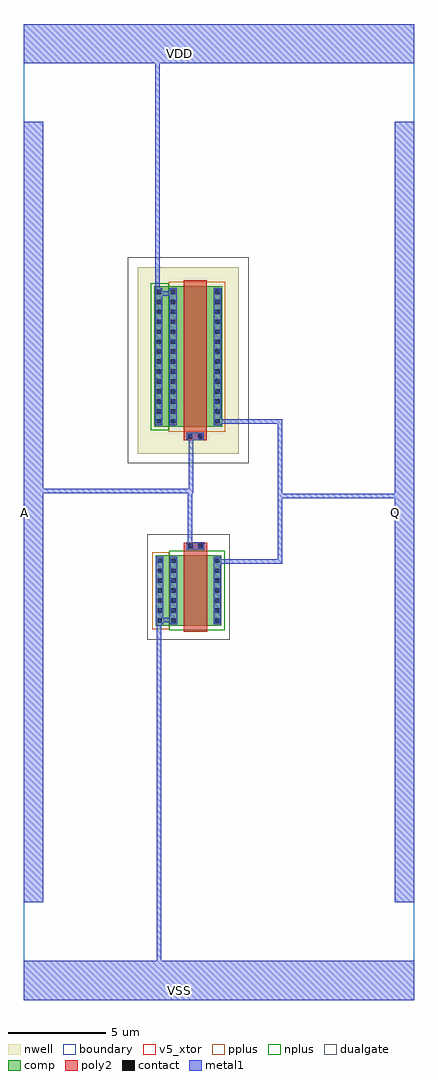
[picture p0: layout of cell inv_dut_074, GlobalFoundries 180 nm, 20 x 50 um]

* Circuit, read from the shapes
.subckt inv_dut_074 A Q VDD VSS
XM1 Q A VSS VSS nfet_05v0 w=3.6u l=1.2u
XM2 Q A VDD VDD pfet_05v0 w=7.2u l=1.2u
.ends

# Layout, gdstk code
from math import pi, radians
import gdstk
lib = gdstk.Library(unit=1e-6, precision=1e-09)
def R(c, l, rs):  # rectangles x0, y0, x1, y1
    for r in rs: c.add(gdstk.rectangle(r[:2], r[2:], *l))
def A(c, l, x, y, w, h, nx, ny, dx, dy):  # array of equal rectangles
    R(c, l, [(x+i*dx, y+j*dy, x+i*dx+w, y+j*dy+h) for i in range(nx) for j in range(ny)])
boundary = (0, 0)
nwell = (21, 0)
comp = (22, 0)
poly2 = (30, 0)
pplus = (31, 0)
nplus = (32, 0)
contact = (33, 0)
metal1 = (34, 0)
dualgate = (55, 0)
v5_xtor = (112, 1)

pfet = lib.new_cell('pfet')
R(pfet, nwell, [(-1.32,-1.37,3.87,8.19)])
R(pfet, comp, [(-0.46,0,3.01,7.2)])
R(pfet, poly2, [(0.31,-0.68,1.51,7.5)])
R(pfet, pplus, [(-0.63,-0.24,2.28,7.44)])
R(pfet, nplus, [(2.28,-0.17,3.18,7.37)])
A(pfet, contact, -0.34, 0.175, 0.22, 0.22, 1, 14, 0, 0.51)
A(pfet, contact, 1.94, 0.175, 0.22, 0.22, 1, 14, 0, 0.51)
A(pfet, contact, 2.67, 0.175, 0.22, 0.22, 1, 14, 0, 0.51)
R(pfet, contact, [(0.545,-0.6,0.765,-0.38), (1.055,-0.6,1.275,-0.38)])
R(pfet, metal1, [(0.465,-0.68,1.355,-0.3), (-0.42,0.095,-0.04,7.105), (1.86,0.095,2.24,7.105), (2.59,0.095,2.97,7.105)])
R(pfet, dualgate, [(-1.82,-1.87,4.37,8.69)])
R(pfet, v5_xtor, [(-1.82,-1.87,4.37,8.69)])

nfet = lib.new_cell('nfet')
R(nfet, comp, [(-0.42,0,2.95,3.6)])
R(nfet, poly2, [(0.31,-0.3,1.51,4.26)])
R(nfet, pplus, [(2.24,-0.17,3.12,3.77)])
R(nfet, nplus, [(-0.59,-0.24,2.24,3.84)])
A(nfet, contact, -0.32, 0.16, 0.22, 0.22, 1, 7, 0, 0.51)
A(nfet, contact, 1.92, 0.16, 0.22, 0.22, 1, 7, 0, 0.51)
A(nfet, contact, 2.63, 0.16, 0.22, 0.22, 1, 7, 0, 0.51)
R(nfet, contact, [(0.545,3.97,0.765,4.19), (1.055,3.97,1.275,4.19)])
R(nfet, metal1, [(-0.4,0.08,-0.02,3.52), (1.84,0.08,2.22,3.52), (2.55,0.08,2.93,3.52), (0.465,3.89,1.355,4.27)])
R(nfet, dualgate, [(-0.84,-0.71,3.37,4.68)])
R(nfet, v5_xtor, [(-0.84,-0.71,3.37,4.68)])

inv_dut_074 = lib.new_cell('inv_dut_074')
R(inv_dut_074, boundary, [(-10,-25,10,25)])
R(inv_dut_074, metal1, [(-10,-25,10,-23), (-10,-20,-9,20), (9,-20,10,20), (-10,23,10,25)])
inv_dut_074.add(gdstk.FlexPath([(-9.705,1.065),(-1.44,1.065),(-1.44,3.91),(-0.96,3.91),(-0.96,3.735)], 0.23, ends="flush", simple_path=True, layer=34, datatype=0))  # metal1
inv_dut_074.add(gdstk.FlexPath([(-1.475,1.03),(-1.475,-1.815)], 0.23, ends="flush", simple_path=True, layer=34, datatype=0))  # metal1
inv_dut_074.add(gdstk.FlexPath([(-3.15,23.515),(-3.15,11.185),(-2.245,11.185)], 0.23, ends="flush", simple_path=True, layer=34, datatype=0))  # metal1
inv_dut_074.add(gdstk.FlexPath([(-0.07,4.63),(3.12,4.63),(3.12,0.825),(9.465,0.825)], 0.23, ends="flush", simple_path=True, layer=34, datatype=0))  # metal1
inv_dut_074.add(gdstk.FlexPath([(-0.07,-2.535),(3.12,-2.535),(3.12,0.89),(3.12,0.89)], 0.23, ends="flush", simple_path=True, layer=34, datatype=0))  # metal1
inv_dut_074.add(gdstk.FlexPath([(-2.35,-5.535),(-3.07,-5.535),(-3.07,-24.27),(-3.07,-24.27)], 0.23, ends="flush", simple_path=True, layer=34, datatype=0))  # metal1
inv_dut_074.add(gdstk.Reference(pfet, (-0.305,4.36), rotation=pi, x_reflection=True))
inv_dut_074.add(gdstk.Reference(nfet, (-0.3,-5.825), rotation=pi, x_reflection=True))
inv_dut_074.add(gdstk.Label('VDD', (-2,23.5), layer=34, texttype=10))
inv_dut_074.add(gdstk.Label('VSS', (-2,-24.5), layer=34, texttype=10))
inv_dut_074.add(gdstk.Label('A', (-9.97,0), layer=34, texttype=10))
inv_dut_074.add(gdstk.Label('Q', (9.03,0), layer=34, texttype=10))

lib.write_gds('inv_dut_074.gds')
